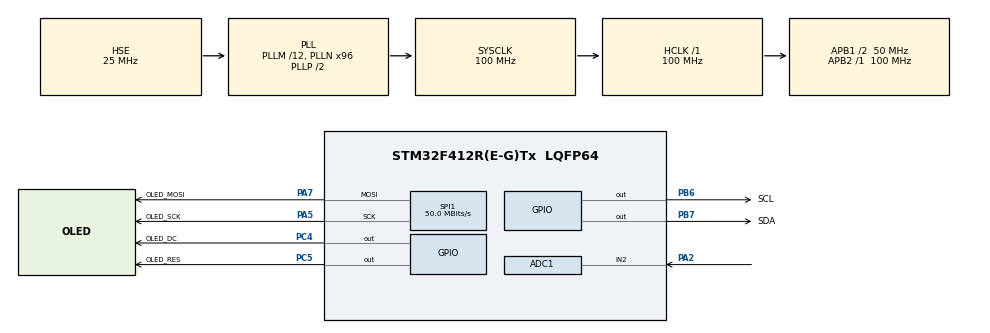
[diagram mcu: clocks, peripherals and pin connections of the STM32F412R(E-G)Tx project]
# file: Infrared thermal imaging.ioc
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ADC1.Channel-0\#ChannelRegularConversion=ADC_CHANNEL_2
ADC1.NbrOfConversionFlag=1
ADC1.Rank-0\#ChannelRegularConversion=1
ADC1.SamplingTime-0\#ChannelRegularConversion=ADC_SAMPLETIME_3CYCLES
ADC1.master=1
Mcu.Family=STM32F4
Mcu.Name=STM32F412R(E-G)Tx
Mcu.Package=LQFP64
NVIC.PriorityGroup=NVIC_PRIORITYGROUP_4
PA13.Mode=Serial_Wire
PA13.Signal=SYS_JTMS-SWDIO
PA14.Mode=Serial_Wire
PA14.Signal=SYS_JTCK-SWCLK
PA2.Signal=ADCx_IN2
PA5.GPIO_Label=OLED_SCK
PA5.Mode=TX_Only_Simplex_Unidirect_Master
PA5.Signal=SPI1_SCK
PA7.GPIO_Label=OLED_MOSI
PA7.Mode=TX_Only_Simplex_Unidirect_Master
PA7.Signal=SPI1_MOSI
PB6.GPIO_Label=SCL
PB6.GPIO_ModeDefaultOutputPP=GPIO_MODE_OUTPUT_OD
PB6.GPIO_PuPd=GPIO_NOPULL
PB6.GPIO_Speed=GPIO_SPEED_FREQ_VERY_HIGH
PB6.PinState=GPIO_PIN_SET
PB6.Signal=GPIO_Output
PB7.GPIO_Label=SDA
PB7.GPIO_ModeDefaultOutputPP=GPIO_MODE_OUTPUT_OD
PB7.GPIO_PuPd=GPIO_NOPULL
PB7.GPIO_Speed=GPIO_SPEED_FREQ_VERY_HIGH
PB7.PinState=GPIO_PIN_SET
PB7.Signal=GPIO_Output
PC4.GPIO_Label=OLED_DC
PC4.GPIO_ModeDefaultOutputPP=GPIO_MODE_OUTPUT_PP
PC4.GPIO_PuPd=GPIO_NOPULL
PC4.GPIO_Speed=GPIO_SPEED_FREQ_VERY_HIGH
PC4.PinState=GPIO_PIN_RESET
PC4.Signal=GPIO_Output
PC5.GPIO_Label=OLED_RES
PC5.GPIO_ModeDefaultOutputPP=GPIO_MODE_OUTPUT_PP
PC5.GPIO_PuPd=GPIO_NOPULL
PC5.GPIO_Speed=GPIO_SPEED_FREQ_VERY_HIGH
PC5.PinState=GPIO_PIN_RESET
PC5.Signal=GPIO_Output
PH0\ -\ OSC_IN.Mode=HSE-External-Oscillator
PH0\ -\ OSC_IN.Signal=RCC_OSC_IN
PH1\ -\ OSC_OUT.Mode=HSE-External-Oscillator
PH1\ -\ OSC_OUT.Signal=RCC_OSC_OUT
ProjectManager.HeapSize=0x1000
ProjectManager.StackSize=0x1000
ProjectManager.TargetToolchain=MDK-ARM V5.32
RCC.AHBFreq_Value=100000000
RCC.APB1CLKDivider=RCC_HCLK_DIV2
RCC.APB1Freq_Value=50000000
RCC.APB1TimFreq_Value=100000000
RCC.APB2Freq_Value=100000000
RCC.APB2TimFreq_Value=100000000
RCC.CortexFreq_Value=100000000
RCC.HCLKFreq_Value=100000000
RCC.PLLM=12
RCC.PLLN=96
RCC.PLLSourceVirtual=RCC_PLLSOURCE_HSE
RCC.SYSCLKFreq_VALUE=100000000
RCC.SYSCLKSource=RCC_SYSCLKSOURCE_PLLCLK
RCC.USBFreq_Value=100000000
RCC.VCOOutputFreq_Value=200000000
SH.ADCx_IN2.0=ADC1_IN2,IN2
SPI1.CRCCalculation=SPI_CRCCALCULATION_DISABLE
SPI1.CalculateBaudRate=50.0 MBits/s
SPI1.Direction=SPI_DIRECTION_2LINES
SPI1.Mode=SPI_MODE_MASTER
SPI1.VirtualType=VM_MASTER
TIM5.AutoReloadPreload=TIM_AUTORELOAD_PRELOAD_ENABLE
TIM5.Prescaler=16-1
VP_TIM5_VS_ClockSourceINT.Mode=Internal
board=custom

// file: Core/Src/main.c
/* USER CODE BEGIN Header */
/**
  ******************************************************************************
  * @file           : main.c
  * @brief          : Main program body
  ******************************************************************************
  * @attention
  *
  * Copyright (c) 2022 STMicroelectronics.
  * All rights reserved.
  *
  * This software is licensed under terms that can be found in the LICENSE file
  * in the root directory of this software component.
  * If no LICENSE file comes with this software, it is provided AS-IS.
  *
  ******************************************************************************
  */
/* USER CODE END Header */
#include "main.h"
#include "adc.h"
#include "spi.h"
#include "tim.h"
#include "gpio.h"

/* USER CODE BEGIN Includes */
#include "lcd.h"
#include <string.h>
#include <MLX90640_I2C_Driver.h>
#include <MLX90640_API.h>
#include "myiic.h"
#include "math.h"
/* USER CODE END Includes */

/* USER CODE BEGIN PTD */
typedef struct
{
	uint16_t numRows;   /**< number of rows in the data table. */
	uint16_t numCols;   /**< number of columns in the data table. */
	float *pData;   /**< points to the data table. */
} bilinear_interp_instance_f32;
/* USER CODE END PTD */

/* USER CODE BEGIN PD */
#define  FPS2HZ   0x02
#define  FPS4HZ   0x03
#define  FPS8HZ   0x04
#define  FPS16HZ  0x05
#define  FPS32HZ  0x06

#define  MLX90640_ADDR 0x33
#define	 RefreshRate FPS16HZ
#define  TA_SHIFT 8 //Default shift for MLX90640 in open air

/* USER CODE END PD */

/* USER CODE BEGIN PV */
paramsMLX90640 mlx90640;
static uint16_t eeMLX90640[832];    //mlx90640 EEPROM
static uint16_t mlx90640Frame[834]; //mlx90640 原始数据
static float mlx90640To[768];       //mlx90640 温度数据
static float data_To[src_x*src_y]={0};
static float tr;
int status;
uint16_t lcd_buffer[Buffer_cols*Buffer_rows]={0};
float data_To_max=0;
float data_To_min=0;
/* USER CODE END PV */

void SystemClock_Config(void);

/* USER CODE BEGIN 0 */
uint16_t GrayToPseColor(uint8_t grayValue)  //灰度-伪彩色变�?
{
	uint8_t colorR,colorG,colorB;
	if( (grayValue>=0) && (grayValue<=63) )
	{
		colorR=0;
		colorG=0;
		colorB=grayValue/2;
	}
	else if( (grayValue>=64) && (grayValue<=127) )
	{
		colorR=0;
		colorG=grayValue-64;
		colorB=(127-grayValue)/2;
	}
	else if( (grayValue>=128) && (grayValue<=191) )
	{
		colorR=(grayValue-128)/2;
		colorG=63;
		colorB=0;
	}
	else if( (grayValue>=192) && (grayValue<=255) )
	{
		colorR=31;
		colorG=255-grayValue;
		colorB=0;
	}
  return (colorR<<11)|(colorG<<5)|colorB;
}

float bilinear_interp(float pData[src_x*src_y],float X,float Y)
{
	float out;
	float f00, f01, f10, f11;
	uint16_t xIndex, yIndex;
	float xdiff, ydiff,_1_xdiff,_1_ydiff;

	xIndex = (uint16_t) X;
	yIndex = (uint16_t) Y;

//	if(xIndex==src_x-1)
//	{
////		return 0;
//		xIndex--;
//	}
//	if(yIndex==src_y-1)
//	{
////		return 0;
//		yIndex--;
//	}
	f00 = pData[yIndex*src_x+xIndex];
	f01 = pData[(yIndex+1)*src_x+xIndex];
	f10 = pData[yIndex*src_x+xIndex+1];
	f11 = pData[(yIndex+1)*src_x+xIndex+1];
	xdiff = (X-xIndex);
	ydiff = (Y-yIndex);
	_1_xdiff = 1-X+xIndex;
	_1_ydiff = 1-Y+yIndex;
	out = f00*_1_xdiff*_1_ydiff+f10*xdiff*_1_ydiff+f01*_1_xdiff*ydiff+f11*xdiff*ydiff;
	return out;
}

void Temp2Gray_all(float temp[src_x*src_y])
{
	float dx = (float)(src_x-1)/dst_x;
	float dy = (float)(src_y-1)/dst_y;
	uint32_t n_gray=0;
	float gray=0;
	for (int y=0;y<dst_y;y++)
	{
		for(int x=0;x<dst_x;x++)
		{
			gray=bilinear_interp(temp,x*dx,y*dy);
			gray=255.0f*(gray-data_To_min)/(data_To_max-data_To_min);
			lcd_buffer[n_gray++] = GrayToPseColor(gray);
		}
	}
	Lcd_Write_16(0,0,dst_x,dst_y,lcd_buffer);
}

/* USER CODE END 0 */

int main(void)
{

  /* MCU Configuration--------------------------------------------------------*/

  /* Reset of all peripherals, Initializes the Flash interface and the Systick. */
  HAL_Init();

  /* Configure the system clock */
  SystemClock_Config();

  /* Initialize all configured peripherals */
  MX_GPIO_Init();
  MX_SPI1_Init();
  MX_ADC1_Init();
  MX_TIM5_Init();
  /* USER CODE BEGIN 2 */
	HAL_TIM_Base_Start(&htim5);
	I2C_Init();
	HAL_Delay(100);

	status = MLX90640_SetResolution(MLX90640_ADDR,0x03);//设置16bit分辨�?
  status = MLX90640_SetRefreshRate(MLX90640_ADDR,RefreshRate);//设置为刷新率16Hz
	status = MLX90640_SetChessMode(MLX90640_ADDR);//棋盘模式
	status = MLX90640_DumpEE(MLX90640_ADDR, eeMLX90640);//读取 EEPROM
  status = MLX90640_ExtractParameters(eeMLX90640, &mlx90640);//�? EEPROM 计算得到计算参数

	int mode = MLX90640_GetCurMode(MLX90640_ADDR);

	LCD_Init();
  /* USER CODE END 2 */

  /* Infinite loop */
  /* USER CODE BEGIN WHILE */
  while (1)
  {
		status = MLX90640_GetFrameData(MLX90640_ADDR, mlx90640Frame);
		if(status == 0||status == 1)
		{
			MLX90640_CalculateTo(mlx90640Frame, &mlx90640, 0.95, tr, mlx90640To);
		}
		if(status==1)
		{
			data_To_max=5;
			data_To_min=20;
			tr = MLX90640_GetTa(mlx90640Frame, &mlx90640)-TA_SHIFT;
			MLX90640_BadPixelsCorrection((&mlx90640)->brokenPixels, mlx90640To, mode, &mlx90640);
			MLX90640_BadPixelsCorrection((&mlx90640)->outlierPixels, mlx90640To, mode, &mlx90640);
			uint16_t data_n=0;
			for(uint8_t y=0;y<src_y;y++)
			{
				for(uint8_t x=0;x<src_x;x++)
				{
					uint16_t n_src=767-32*x-y;
					data_To[data_n]=*(mlx90640To+n_src);
					if(data_To[data_n]>data_To_max)
					{
						data_To_max=data_To[data_n];
					}
					if(data_To[data_n]<data_To_min)
					{
						data_To_min=data_To[data_n];
					}
					data_n++;
				}
			}
			Temp2Gray_all(data_To);
		}
    /* USER CODE END WHILE */

  }
}

void SystemClock_Config(void)
{
  RCC_OscInitTypeDef RCC_OscInitStruct = {0};
  RCC_ClkInitTypeDef RCC_ClkInitStruct = {0};

  /** Configure the main internal regulator output voltage
  */
  __HAL_RCC_PWR_CLK_ENABLE();
  __HAL_PWR_VOLTAGESCALING_CONFIG(PWR_REGULATOR_VOLTAGE_SCALE1);

  /** Initializes the RCC Oscillators according to the specified parameters
  * in the RCC_OscInitTypeDef structure.
  */
  RCC_OscInitStruct.OscillatorType = RCC_OSCILLATORTYPE_HSE;
  RCC_OscInitStruct.HSEState = RCC_HSE_ON;
  RCC_OscInitStruct.PLL.PLLState = RCC_PLL_ON;
  RCC_OscInitStruct.PLL.PLLSource = RCC_PLLSOURCE_HSE;
  RCC_OscInitStruct.PLL.PLLM = 12;
  RCC_OscInitStruct.PLL.PLLN = 96;
  RCC_OscInitStruct.PLL.PLLP = RCC_PLLP_DIV2;
  RCC_OscInitStruct.PLL.PLLQ = 2;
  RCC_OscInitStruct.PLL.PLLR = 2;
  if (HAL_RCC_OscConfig(&RCC_OscInitStruct) != HAL_OK)
  {
    Error_Handler();
  }

  /** Initializes the CPU, AHB and APB buses clocks
  */
  RCC_ClkInitStruct.ClockType = RCC_CLOCKTYPE_HCLK|RCC_CLOCKTYPE_SYSCLK
                              |RCC_CLOCKTYPE_PCLK1|RCC_CLOCKTYPE_PCLK2;
  RCC_ClkInitStruct.SYSCLKSource = RCC_SYSCLKSOURCE_PLLCLK;
  RCC_ClkInitStruct.AHBCLKDivider = RCC_SYSCLK_DIV1;
  RCC_ClkInitStruct.APB1CLKDivider = RCC_HCLK_DIV2;
  RCC_ClkInitStruct.APB2CLKDivider = RCC_HCLK_DIV1;

  if (HAL_RCC_ClockConfig(&RCC_ClkInitStruct, FLASH_LATENCY_3) != HAL_OK)
  {
    Error_Handler();
  }
}

void Error_Handler(void)
{
  __disable_irq();
  while (1)
  {
  }
}
